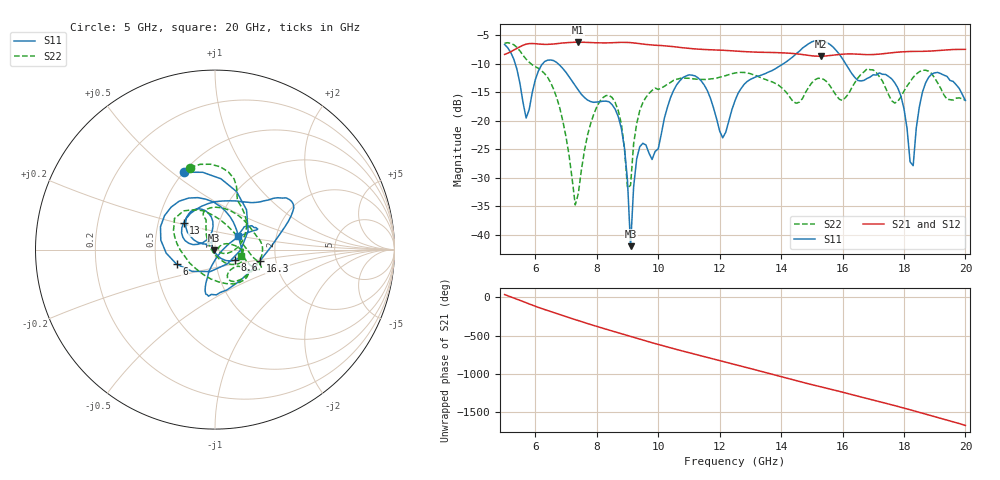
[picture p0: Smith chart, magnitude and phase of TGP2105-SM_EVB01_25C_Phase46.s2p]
! Date: Wednesday, June 05, 2013  1:52 PM
! Filename: C:\Data\Mike_Arnold\TGP2105-SM\Over_Temp\TGP2105-SM_EVB01_25C_Phase46.s2p
! Comments:
!^VDC(V):5.000
!^VDC(mA):0.121
!%Freq(GHz),S11(dB),S11(ang),S21(dB),S21(ang),S12(dB),S12(ang),S22(dB),S22(ang)
# GHz  S  DB  R  50
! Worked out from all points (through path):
!   151 points, 5 GHz to 20 GHz, reference 50 ohm
!   highest |S21| = -6.25 dB at 7.4 GHz (marker M1); lowest = -8.7 dB at 15.3 GHz (marker M2)
!   lowest |S11| = -42.0 dB at 9.1 GHz (marker M3), VSWR 1.02, Z = 49.3 - j0.405 ohm
!   |S11| at or under -10 dB: 5.344 GHz to 6.244 GHz (899.7 MHz wide, 15.5 % of centre); 6.736 GHz to 14.08 GHz (7.347 GHz wide, 70.6 % of centre); 16.1 GHz to end of sweep
!   |S22| runs from -34.8 to -6.3 dB; largest |S21 - S12| = 0.0022
!   S11 on the Smith chart (normalised r, x): 5 GHz: 0.50, +0.55; 6 GHz: 0.64, -0.11; 8.6 GHz: 1.24, -0.15; 13 GHz: 0.68, +0.21; 16.3 GHz: 1.65, -0.22; 20 GHz: 1.28, +0.20
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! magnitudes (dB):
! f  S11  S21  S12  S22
! 5 GHz  -6.7  -8.4  -8.4  -6.4
! 5.7 GHz  -19.6  -6.6  -6.6  -9.2
! 6 GHz  -12.8  -6.5  -6.5  -10.5
! 7.4 GHz  -14.7  -6.3  -6.3  -32.8
! 7.5 GHz  -15.4  -6.3  -6.3  -28.7
! 8 GHz  -16.7  -6.4  -6.4  -17.6
! 8.6 GHz  -18.0  -6.3  -6.3  -16.8
! 8.9 GHz  -24.7  -6.3  -6.3  -24.8
! 9.1 GHz  -42.0  -6.3  -6.4  -31.4
! 9.4 GHz  -24.6  -6.5  -6.5  -18.2
! 10 GHz  -25.0  -6.8  -6.8  -14.5
! 10.8 GHz  -12.5  -7.2  -7.2  -12.5
! 12.1 GHz  -23.0  -7.7  -7.7  -12.3
! 12.5 GHz  -16.5  -7.8  -7.8  -11.7
! 13 GHz  -12.8  -8.0  -8.0  -11.8
! 15 GHz  -6.2  -8.6  -8.7  -13.4
! 15.3 GHz  -5.9  -8.7  -8.7  -12.6
! 16.3 GHz  -11.7  -8.3  -8.3  -14.2
! 17.5 GHz  -12.3  -8.2  -8.2  -15.5
! 18.3 GHz  -27.9  -7.9  -7.9  -12.4
! 18.8 GHz  -12.4  -7.8  -7.8  -11.3
! 20 GHz  -16.5  -7.5  -7.5  -16.4
